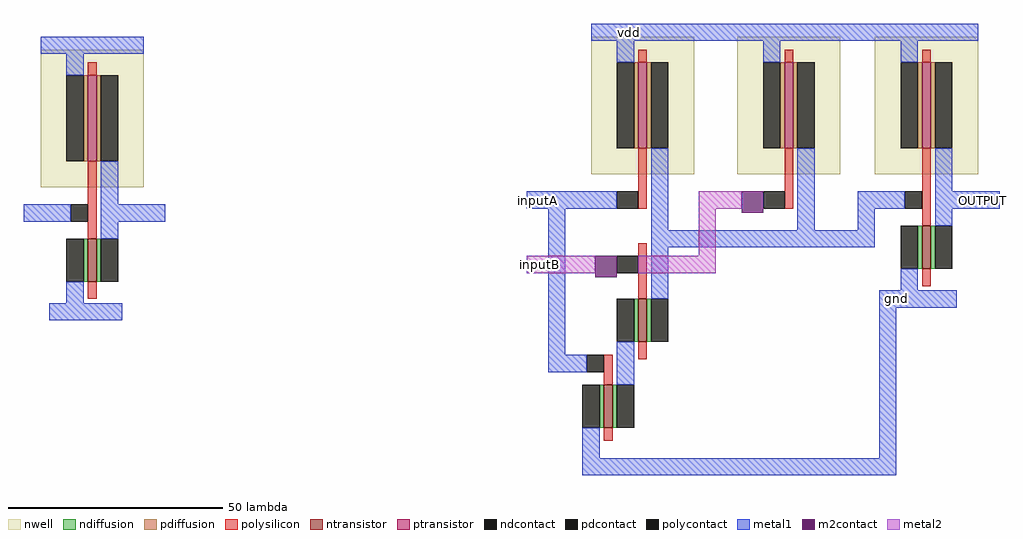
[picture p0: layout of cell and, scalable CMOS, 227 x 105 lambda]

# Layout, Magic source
magic
tech scmos
<< nwell >>
rect 65 85 89 117
rect 193 88 217 120
rect 227 88 251 120
rect 259 88 283 120
<< ntransistor >>
rect 76 63 78 73
rect 270 66 272 76
rect 204 49 206 59
rect 196 29 198 39
<< ptransistor >>
rect 76 91 78 111
rect 204 94 206 114
rect 238 94 240 114
rect 270 94 272 114
<< ndiffusion >>
rect 75 63 76 73
rect 78 63 79 73
rect 269 66 270 76
rect 272 66 273 76
rect 203 49 204 59
rect 206 49 207 59
rect 195 29 196 39
rect 198 29 199 39
<< pdiffusion >>
rect 75 91 76 111
rect 78 91 79 111
rect 203 94 204 114
rect 206 94 207 114
rect 237 94 238 114
rect 240 94 241 114
rect 269 94 270 114
rect 272 94 273 114
<< ndcontact >>
rect 71 63 75 73
rect 79 63 83 73
rect 265 66 269 76
rect 273 66 277 76
rect 199 49 203 59
rect 207 49 211 59
rect 191 29 195 39
rect 199 29 203 39
<< pdcontact >>
rect 71 91 75 111
rect 79 91 83 111
rect 199 94 203 114
rect 207 94 211 114
rect 233 94 237 114
rect 241 94 245 114
rect 265 94 269 114
rect 273 94 277 114
<< polysilicon >>
rect 204 114 206 117
rect 238 114 240 117
rect 270 114 272 117
rect 76 111 78 114
rect 76 73 78 91
rect 204 80 206 94
rect 238 80 240 94
rect 270 76 272 94
rect 76 59 78 63
rect 204 59 206 72
rect 270 62 272 66
rect 196 39 198 46
rect 204 45 206 49
rect 196 26 198 29
<< polycontact >>
rect 72 77 76 81
rect 199 80 204 84
rect 233 80 238 84
rect 266 80 270 84
rect 199 65 204 69
rect 192 42 196 46
<< metal1 >>
rect 65 116 89 120
rect 193 119 283 123
rect 71 111 75 116
rect 199 114 203 119
rect 233 114 237 119
rect 265 114 269 119
rect 79 81 83 91
rect 61 77 72 81
rect 79 77 94 81
rect 178 80 199 84
rect 79 73 83 77
rect 71 58 75 63
rect 67 54 84 58
rect 183 46 187 80
rect 207 75 211 94
rect 241 75 245 94
rect 273 84 277 94
rect 255 80 266 84
rect 273 80 288 84
rect 255 75 259 80
rect 273 76 277 80
rect 207 71 259 75
rect 207 59 211 71
rect 265 61 269 66
rect 260 57 278 61
rect 183 42 192 46
rect 199 39 203 49
rect 191 22 195 29
rect 260 22 264 57
rect 191 18 264 22
<< m2contact >>
rect 228 79 233 84
rect 194 64 199 69
<< metal2 >>
rect 218 80 228 84
rect 218 69 222 80
rect 178 65 194 69
rect 204 65 222 69
<< labels >>
rlabel metal1 262 58 266 60 1 gnd
rlabel metal1 179 81 182 83 1 inputA
rlabel metal1 199 120 205 122 5 vdd
rlabel metal2 179 66 183 68 1 inputB
rlabel metal1 282 81 286 83 7 OUTPUT
<< end >>
